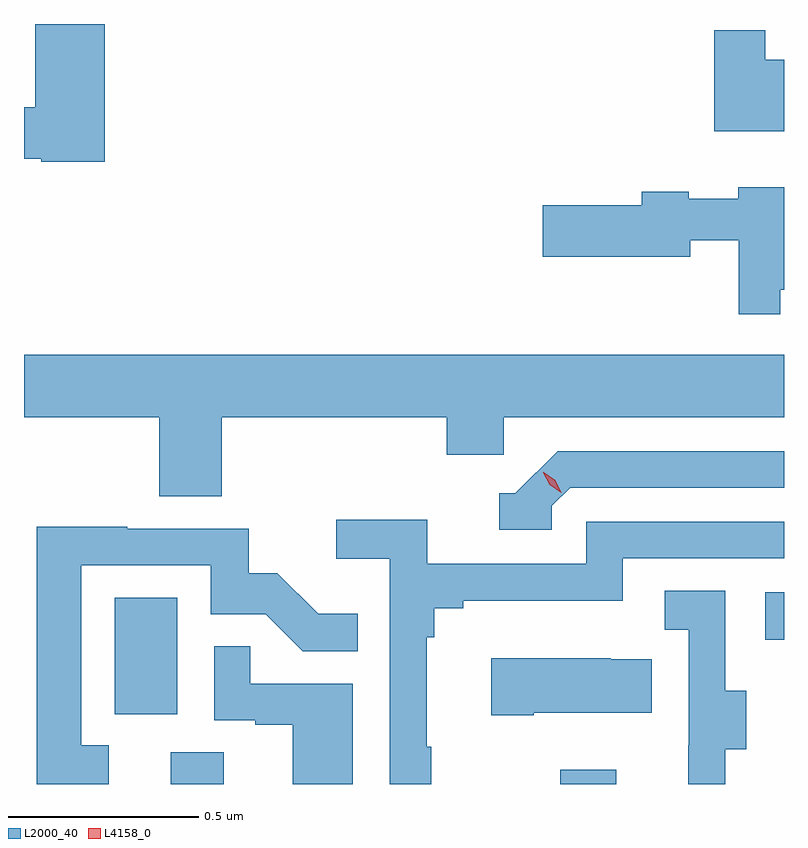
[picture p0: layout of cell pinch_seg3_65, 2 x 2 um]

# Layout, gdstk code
import gdstk
lib = gdstk.Library(unit=1e-6, precision=1e-09)
def R(c, l, rs):  # rectangles x0, y0, x1, y1
    for r in rs: c.add(gdstk.rectangle(r[:2], r[2:], *l))
def P(c, l, *ps):  # polygons
    for p in ps: c.add(gdstk.Polygon(p, *l))
L2000_40 = (2000, 40)
L4158_0 = (4158, 0)

pinch_seg3_65 = lib.new_cell('pinch_seg3_65')
R(pinch_seg3_65, L2000_40, [(1033.265,737.247,1033.405,737.33), (1034.29,737.247,1034.437,737.284), (1033.118,737.43,1033.282,737.737), (1034.829,737.627,1034.879,737.751)])
P(pinch_seg3_65, L2000_40, [(1033.091,739.247),(1032.908,739.247),(1032.908,739.028),(1032.879,739.028),(1032.879,738.892),(1032.924,738.892),(1032.924,738.884),(1033.091,738.884)],
  [(1034.879,739.153),(1034.83,739.153),(1034.83,739.231),(1034.696,739.231),(1034.696,738.965),(1034.879,738.965)],
  [(1034.869,738.548),(1034.879,738.548),(1034.879,738.817),(1034.759,738.817),(1034.759,738.787),(1034.628,738.787),(1034.628,738.806),(1034.504,738.806),(1034.504,738.77),(1034.244,738.77),(1034.244,738.635),(1034.632,738.635),(1034.632,738.678),(1034.76,738.678),(1034.76,738.483),(1034.869,738.483)],
  [(1033.4,738.212),(1033.991,738.212),(1033.991,738.114),(1034.142,738.114),(1034.142,738.212),(1034.879,738.212),(1034.879,738.376),(1032.879,738.376),(1032.879,738.212),(1033.235,738.212),(1033.235,738.004),(1033.4,738.004)],
  [(1034.268,737.979),(1034.316,738.027),(1034.879,738.027),(1034.879,738.123),(1034.283,738.123),(1034.172,738.012),(1034.129,738.012),(1034.129,737.916),(1034.268,737.916)],
  [(1033.951,737.345),(1033.939,737.345),(1033.939,737.633),(1033.958,737.633),(1033.958,737.71),(1034.035,737.71),(1034.035,737.729),(1034.454,737.729),(1034.454,737.841),(1034.879,737.841),(1034.879,737.937),(1034.358,737.937),(1034.358,737.826),(1033.94,737.826),(1033.94,737.942),(1033.701,737.942),(1033.701,737.84),(1033.842,737.84),(1033.842,737.247),(1033.951,737.247)],
  [(1033.102,737.349),(1033.029,737.349),(1033.029,737.823),(1033.371,737.823),(1033.371,737.694),(1033.515,737.694),(1033.613,737.596),(1033.757,737.596),(1033.757,737.695),(1033.653,737.695),(1033.546,737.802),(1033.47,737.802),(1033.47,737.919),(1033.151,737.919),(1033.151,737.924),(1032.913,737.924),(1032.913,737.247),(1033.102,737.247)],
  [(1034.725,737.338),(1034.779,737.338),(1034.779,737.493),(1034.724,737.493),(1034.724,737.756),(1034.565,737.756),(1034.565,737.653),(1034.628,737.653),(1034.628,737.349),(1034.627,737.349),(1034.627,737.247),(1034.725,737.247)],
  [(1033.744,737.511),(1033.475,737.511),(1033.475,737.609),(1033.38,737.609),(1033.38,737.415),(1033.487,737.415),(1033.487,737.403),(1033.586,737.403),(1033.586,737.247),(1033.744,737.247)],
  [(1034.221,737.435),(1034.531,737.435),(1034.531,737.575),(1034.423,737.575),(1034.423,737.578),(1034.109,737.578),(1034.109,737.428),(1034.221,737.428)])
P(pinch_seg3_65, L4158_0, [(1034.293,738.014),(1034.262,738.034),(1034.246,738.066),(1034.246,738.067),(1034.247,738.067),(1034.277,738.047),(1034.293,738.014),(1034.293,738.014)])

lib.write_gds('pinch_seg3_65.gds')
